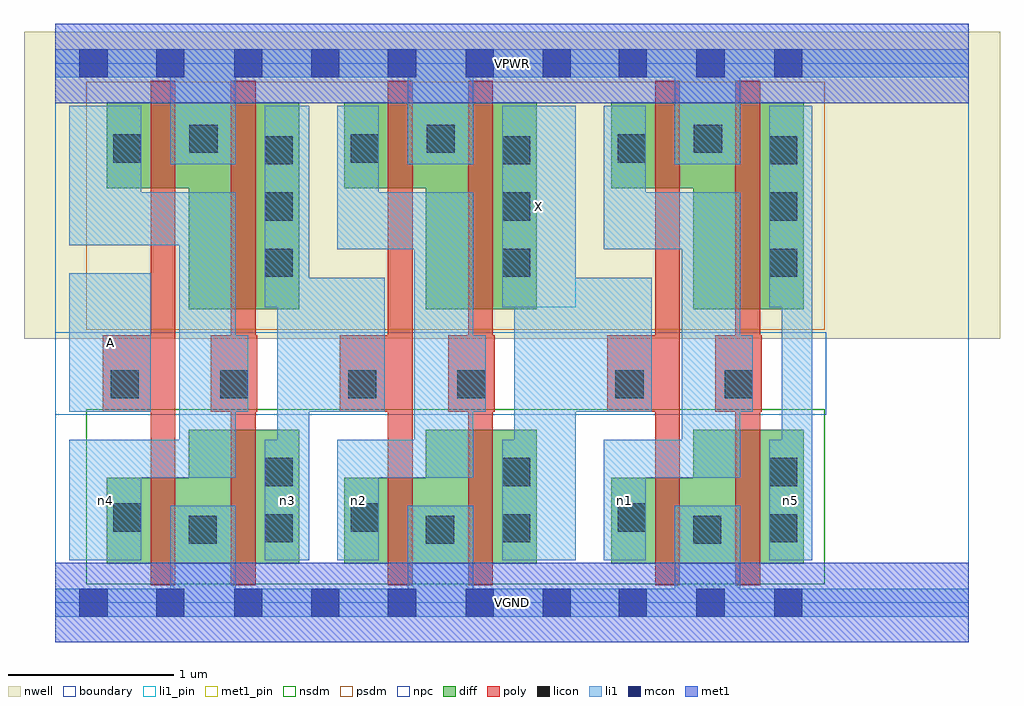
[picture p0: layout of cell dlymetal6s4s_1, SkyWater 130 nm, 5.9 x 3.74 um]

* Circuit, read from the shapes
.subckt dlymetal6s4s_1 A VGND VPWR X n1 n2 n3 n4 n5
XM1 VGND A n4 VSUBS sky130_fd_pr__nfet_01v8 w=0.52 l=0.15
XM2 n3 n4 VGND VSUBS sky130_fd_pr__nfet_01v8 w=0.81 l=0.15
XM3 VGND n3 n2 VSUBS sky130_fd_pr__nfet_01v8 w=0.52 l=0.15
XM4 X n2 VGND VSUBS sky130_fd_pr__nfet_01v8 w=0.81 l=0.15
XM5 VGND X n1 VSUBS sky130_fd_pr__nfet_01v8 w=0.52 l=0.15
XM6 n5 n1 VGND VSUBS sky130_fd_pr__nfet_01v8 w=0.81 l=0.15
XM7 VPWR A n4 n6 sky130_fd_pr__pfet_01v8 w=0.52 l=0.15
XM8 n3 n4 VPWR n6 sky130_fd_pr__pfet_01v8 w=1.25 l=0.15
XM9 VPWR n3 n2 n6 sky130_fd_pr__pfet_01v8 w=0.52 l=0.15
XM10 X n2 VPWR n6 sky130_fd_pr__pfet_01v8 w=1.25 l=0.15
XM11 VPWR X n1 n6 sky130_fd_pr__pfet_01v8 w=0.52 l=0.15
XM12 n5 n1 VPWR n6 sky130_fd_pr__pfet_01v8 w=1.25 l=0.15
.ends

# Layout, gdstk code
import gdstk
lib = gdstk.Library(unit=1e-6, precision=1e-09)
def R(c, l, rs):  # rectangles x0, y0, x1, y1
    for r in rs: c.add(gdstk.rectangle(r[:2], r[2:], *l))
def A(c, l, x, y, w, h, nx, ny, dx, dy):  # array of equal rectangles
    R(c, l, [(x+i*dx, y+j*dy, x+i*dx+w, y+j*dy+h) for i in range(nx) for j in range(ny)])
nwell = (64, 20)
diff = (65, 20)
poly = (66, 20)
licon = (66, 44)
li1_pin = (67, 16)
li1 = (67, 20)
mcon = (67, 44)
met1_pin = (68, 16)
met1 = (68, 20)
nsdm = (93, 44)
psdm = (94, 20)
npc = (95, 20)
boundary = (235, 4)

dlymetal6s4s_1 = lib.new_cell('dlymetal6s4s_1')
R(dlymetal6s4s_1, nwell, [(-0.19,1.595,5.71,3.45), (0,1.595,5.52,3.45)])
R(dlymetal6s4s_1, diff, [(0.31,0.235,1.475,0.755), (0.805,0.235,1.475,1.045), (1.745,0.235,2.91,0.755), (2.24,0.235,2.91,1.045), (3.36,0.235,4.525,0.755), (3.855,0.235,4.525,1.045), (0.805,1.775,1.475,3.025), (2.24,1.775,2.91,3.025), (3.855,1.775,4.525,3.025), (0.31,2.505,1.475,3.025), (1.745,2.505,2.91,3.025), (3.36,2.505,4.525,3.025)])
R(dlymetal6s4s_1, poly, [(0.575,0.105,0.725,3.155), (1.06,0.105,1.21,3.155), (2.01,0.105,2.16,3.155), (2.495,0.105,2.645,3.155), (3.625,0.105,3.775,3.155), (4.11,0.105,4.26,3.155), (0.285,1.155,0.725,1.615), (0.94,1.155,1.22,1.615), (1.72,1.155,2.16,1.615), (2.375,1.155,2.655,1.615), (3.335,1.155,3.775,1.615), (3.99,1.155,4.27,1.615)])
A(dlymetal6s4s_1, licon, 1.265, 1.97, 0.17, 0.17, 1, 3, 0, 0.34)
A(dlymetal6s4s_1, licon, 2.7, 1.97, 0.17, 0.17, 1, 3, 0, 0.34)
A(dlymetal6s4s_1, licon, 4.315, 1.97, 0.17, 0.17, 1, 3, 0, 0.34)
R(dlymetal6s4s_1, licon, [(0.805,0.355,0.975,0.525), (2.24,0.355,2.41,0.525), (3.855,0.355,4.025,0.525), (1.265,0.365,1.435,0.535), (2.7,0.365,2.87,0.535), (4.315,0.365,4.485,0.535), (0.35,0.43,0.52,0.6), (1.785,0.43,1.955,0.6), (3.4,0.43,3.57,0.6), (1.265,0.705,1.435,0.875), (2.7,0.705,2.87,0.875), (4.315,0.705,4.485,0.875), (0.335,1.235,0.505,1.405), (0.995,1.235,1.165,1.405), (1.77,1.235,1.94,1.405), (2.43,1.235,2.6,1.405), (3.385,1.235,3.555,1.405), (4.045,1.235,4.215,1.405), (0.35,2.66,0.52,2.83), (1.785,2.66,1.955,2.83), (3.4,2.66,3.57,2.83), (0.81,2.72,0.98,2.89), (2.245,2.72,2.415,2.89), (3.86,2.72,4.03,2.89)])
R(dlymetal6s4s_1, li1_pin, [(0.085,1.155,0.575,1.99), (2.7,1.785,3.145,3.005)])
R(dlymetal6s4s_1, li1, [(0,-0.085,5.52,0.085), (0.695,-0.085,1.09,0.585), (2.13,-0.085,2.525,0.585), (3.745,-0.085,4.14,0.585), (0.085,0.255,0.52,0.985), (1.265,0.255,1.535,0.985), (1.34,0.255,1.535,3.005), (1.705,0.255,1.955,0.985), (2.7,0.255,3.145,0.985), (2.775,0.255,3.145,3.005), (3.315,0.255,3.57,0.985), (4.315,0.255,4.575,0.985), (4.39,0.255,4.575,3.005), (0.085,0.755,1.09,0.985), (0.75,0.755,1.09,2.48), (1.705,0.755,2.525,0.985), (2.17,0.755,2.525,2.48), (3.315,0.755,4.14,0.985), (3.785,0.755,4.14,2.48), (0.085,1.155,0.575,1.99), (0.75,1.155,1.165,1.615), (1.34,1.155,1.99,1.965), (2.17,1.155,2.6,1.615), (2.775,1.155,3.605,1.965), (3.785,1.155,4.215,1.615), (1.265,1.785,1.535,3.005), (2.7,1.785,3.145,3.005), (4.315,1.785,4.575,3.005), (1.705,2.135,1.955,3.005), (1.705,2.135,2.525,2.48), (3.315,2.135,3.57,3.005), (3.315,2.135,4.14,2.48), (0.085,2.16,0.52,3.005), (0.085,2.16,1.09,2.48), (0.695,2.65,1.09,3.345), (2.13,2.65,2.525,3.345), (3.745,2.65,4.14,3.345), (0,3.175,5.52,3.345)])
A(dlymetal6s4s_1, mcon, 1.08, -0.085, 0.17, 0.17, 3, 2, 0.465, 3.26)
A(dlymetal6s4s_1, mcon, 3.405, -0.085, 0.17, 0.17, 3, 2, 0.47, 3.26)
R(dlymetal6s4s_1, mcon, [(0.145,-0.085,0.315,0.085), (0.61,-0.085,0.78,0.085), (2.48,-0.085,2.65,0.085), (2.945,-0.085,3.115,0.085), (0.145,3.175,0.315,3.345), (0.61,3.175,0.78,3.345), (2.48,3.175,2.65,3.345), (2.945,3.175,3.115,3.345)])
R(dlymetal6s4s_1, met1_pin, [(0,-0.24,5.52,0.24), (0,3.02,5.52,3.5)])
R(dlymetal6s4s_1, met1, [(0,-0.24,5.52,0.24), (0,3.02,5.52,3.5)])
R(dlymetal6s4s_1, nsdm, [(0.185,0.11,4.65,1.17)])
R(dlymetal6s4s_1, psdm, [(0.185,1.65,4.65,3.15)])
R(dlymetal6s4s_1, npc, [(0,1.135,4.66,1.635)])
R(dlymetal6s4s_1, boundary, [(0,0,5.52,3.26)])
dlymetal6s4s_1.add(gdstk.Label('A', (0.33,1.572), layer=67, texttype=5))
dlymetal6s4s_1.add(gdstk.Label('X', (2.922,2.395), layer=67, texttype=5))
dlymetal6s4s_1.add(gdstk.Label('n4', (0.302,0.62), layer=67, texttype=5))
dlymetal6s4s_1.add(gdstk.Label('n3', (1.4,0.62), layer=67, texttype=5))
dlymetal6s4s_1.add(gdstk.Label('n2', (1.83,0.62), layer=67, texttype=5))
dlymetal6s4s_1.add(gdstk.Label('n1', (3.442,0.62), layer=67, texttype=5))
dlymetal6s4s_1.add(gdstk.Label('n5', (4.445,0.62), layer=67, texttype=5))
dlymetal6s4s_1.add(gdstk.Label('VPWR', (2.76,3.26), layer=68, texttype=5))
dlymetal6s4s_1.add(gdstk.Label('VGND', (2.76,0), layer=68, texttype=5))
dlymetal6s4s_1.add(gdstk.Label('A', (0.33,1.572), layer=67, texttype=16))
dlymetal6s4s_1.add(gdstk.Label('X', (2.922,2.395), layer=67, texttype=16))
dlymetal6s4s_1.add(gdstk.Label('VPWR', (2.76,3.26), layer=68, texttype=16))
dlymetal6s4s_1.add(gdstk.Label('VGND', (2.76,0), layer=68, texttype=16))

lib.write_gds('dlymetal6s4s_1.gds')
